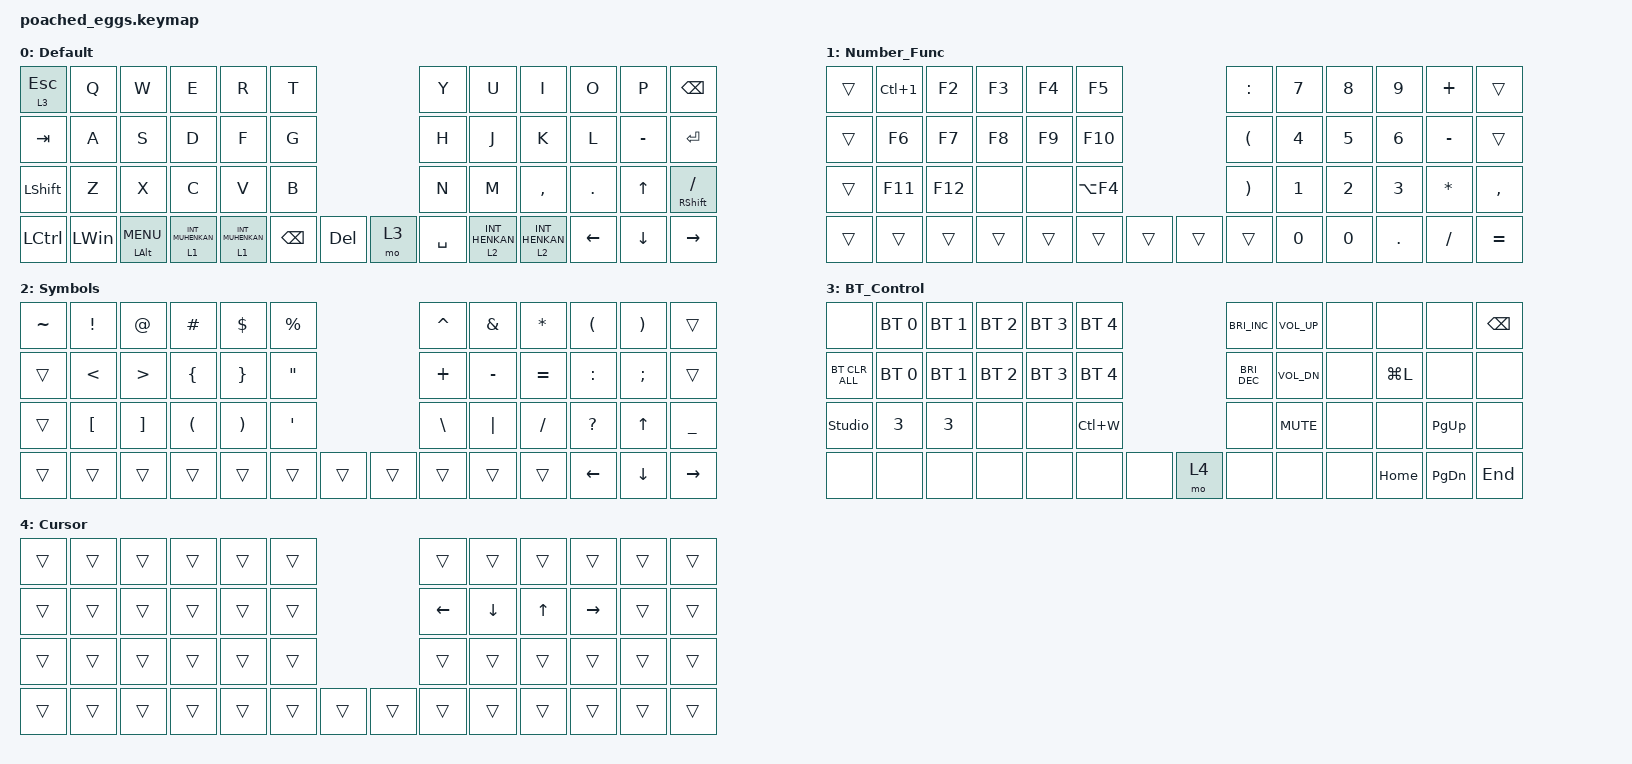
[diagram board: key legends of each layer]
#include <behaviors.dtsi>
#include <dt-bindings/zmk/bt.h>
#include <dt-bindings/zmk/keys.h>

/ {
    keymap {
        compatible = "zmk,keymap";

        Default {
            bindings = <
&lt 3 ESCAPE      &kp Q         &kp W                &kp E               &kp R               &kp T                          &kp Y      &kp U             &kp I             &kp O     &kp P      &kp BACKSPACE
&kp TAB           &kp A         &kp S                &kp D               &kp F               &kp G                          &kp H      &kp J             &kp K             &kp L     &kp MINUS  &kp ENTER
&kp LSHFT         &kp Z         &kp X                &kp C               &kp V               &kp B                          &kp N      &kp M             &kp COMMA         &kp DOT   &kp UP     &mt RIGHT_SHIFT SLASH
&kp LEFT_CONTROL  &kp LEFT_WIN  &mt LEFT_ALT C_MENU  &lt 1 INT_MUHENKAN  &lt 1 INT_MUHENKAN  &kp BACKSPACE  &kp DEL  &mo 3  &kp SPACE  &lt 2 INT_HENKAN  &lt 2 INT_HENKAN  &kp LEFT  &kp DOWN   &kp RIGHT
            >;
        };

        Number_Func {
            bindings = <
&trans  &kp LC(NUMBER_1)  &kp F2   &kp F3  &kp F4  &kp F5                      &kp COLON              &kp N7        &kp N8        &kp N9        &kp PLUS      &trans
&trans  &kp F6            &kp F7   &kp F8  &kp F9  &kp F10                     &kp LEFT_PARENTHESIS   &kp NUMBER_4  &kp N5        &kp NUMBER_6  &kp MINUS     &trans
&trans  &kp F11           &kp F12  &none   &none   &kp LA(F4)                  &kp RIGHT_PARENTHESIS  &kp NUMBER_1  &kp NUMBER_2  &kp NUMBER_3  &kp ASTERISK  &kp COMMA
&trans  &trans            &trans   &trans  &trans  &trans      &trans  &trans  &trans                 &kp NUMBER_0  &kp NUMBER_0  &kp PERIOD    &kp SLASH     &kp EQUAL
            >;
        };

        Symbols {
            bindings = <
&kp TILDE  &kp EXCLAMATION   &kp AT_SIGN        &kp HASH              &kp DOLLAR             &kp PERCENT                        &kp CARET      &kp AMPERSAND  &kp ASTERISK  &kp LEFT_PARENTHESIS  &kp RIGHT_PARENTHESIS  &trans
&trans     &kp LESS_THAN     &kp GREATER_THAN   &kp LEFT_BRACE        &kp RIGHT_BRACE        &kp DOUBLE_QUOTES                  &kp PLUS       &kp MINUS      &kp EQUAL     &kp COLON             &kp SEMICOLON          &trans
&trans     &kp LEFT_BRACKET  &kp RIGHT_BRACKET  &kp LEFT_PARENTHESIS  &kp RIGHT_PARENTHESIS  &kp SQT                            &kp BACKSLASH  &kp PIPE       &kp SLASH     &kp QUESTION          &kp UP_ARROW           &kp UNDERSCORE
&trans     &trans            &trans             &trans                &trans                 &trans             &trans  &trans  &trans         &trans         &trans        &kp LEFT_ARROW        &kp DOWN_ARROW         &kp RIGHT_ARROW
            >;
        };

        BT_Control {
            bindings = <
&none           &bt BT_SEL 0  &bt BT_SEL 1  &bt BT_SEL 2  &bt BT_SEL 3  &bt BT_SEL 4                &kp C_BRIGHTNESS_INC  &kp C_VOLUME_UP  &none  &none      &none          &kp BACKSPACE
&bt BT_CLR_ALL  &bt BT_SEL 0  &bt BT_SEL 1  &bt BT_SEL 2  &bt BT_SEL 3  &bt BT_SEL 4                &kp C_BRI_DEC         &kp C_VOL_DN     &none  &kp LG(L)  &none          &none
&studio_unlock  &kp NUMBER_3  &kp NUMBER_3  &none         &none         &kp LC(W)                   &none                 &kp K_MUTE       &none  &none      &kp PAGE_UP    &none
&none           &none         &none         &none         &none         &none         &none  &mo 4  &none                 &none            &none  &kp HOME   &kp PAGE_DOWN  &kp END
            >;
        };

        Cursor {
            bindings = <
&trans  &trans  &trans  &trans  &trans  &trans                  &trans          &trans          &trans        &trans     &trans  &trans
&trans  &trans  &trans  &trans  &trans  &trans                  &kp LEFT_ARROW  &kp DOWN_ARROW  &kp UP_ARROW  &kp RIGHT  &trans  &trans
&trans  &trans  &trans  &trans  &trans  &trans                  &trans          &trans          &trans        &trans     &trans  &trans
&trans  &trans  &trans  &trans  &trans  &trans  &trans  &trans  &trans          &trans          &trans        &trans     &trans  &trans
            >;
        };
    };
};
